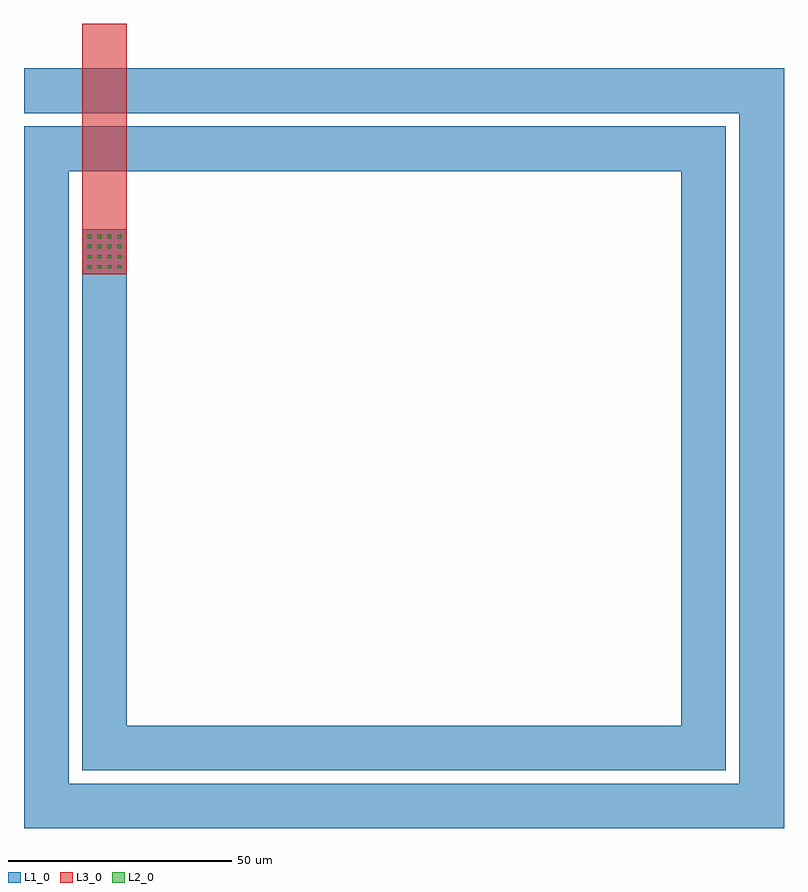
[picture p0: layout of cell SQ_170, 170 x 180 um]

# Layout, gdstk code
import gdstk
lib = gdstk.Library(unit=1e-6, precision=1e-09)
def R(c, l, rs):  # rectangles x0, y0, x1, y1
    for r in rs: c.add(gdstk.rectangle(r[:2], r[2:], *l))
def A(c, l, x, y, w, h, nx, ny, dx, dy):  # array of equal rectangles
    R(c, l, [(x+i*dx, y+j*dy, x+i*dx+w, y+j*dy+h) for i in range(nx) for j in range(ny)])
def P(c, l, *ps):  # polygons
    for p in ps: c.add(gdstk.Polygon(p, *l))
L1_0 = (1, 0)
L2_0 = (2, 0)
L3_0 = (3, 0)

sq_170 = lib.new_cell('SQ_170')
R(sq_170, L1_0, [(213,324,223,334)])
P(sq_170, L1_0, [(200,360),(200,370),(370,370),(360,360)],
  [(370,200),(360,210),(360,360),(370,370)],
  [(200,200),(210,210),(360,210),(370,200)],
  [(200,200),(200,357),(210,347),(210,210)],
  [(210,347),(200,357),(357,357),(347,347)],
  [(357,213),(347,223),(347,347),(357,357)],
  [(213,213),(223,223),(347,223),(357,213)],
  [(213,213),(213,334),(223,334),(223,223)])
A(sq_170, L2_0, 214.25, 325.25, 0.75, 0.75, 4, 4, 2.25, 2.25)
R(sq_170, L3_0, [(213,324,223,380), (213,324,223,334)])

lib.write_gds('SQ_170.gds')
